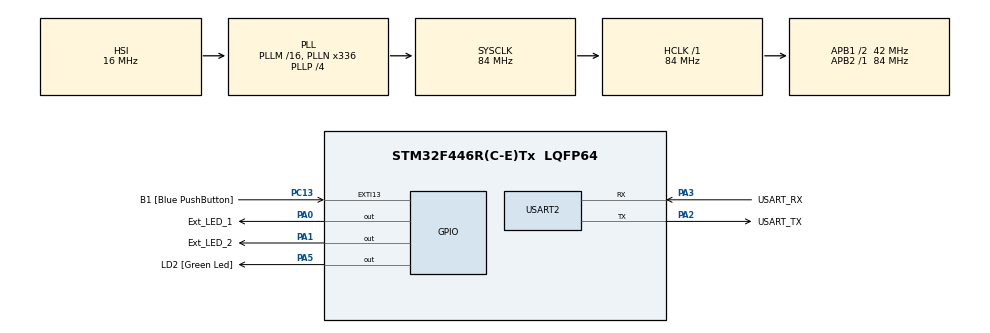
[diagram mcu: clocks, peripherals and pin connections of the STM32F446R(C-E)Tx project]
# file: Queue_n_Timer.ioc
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Mcu.Family=STM32F4
Mcu.Name=STM32F446R(C-E)Tx
Mcu.Package=LQFP64
NVIC.PriorityGroup=NVIC_PRIORITYGROUP_4
NVIC.TIM6_DAC_IRQn=true\:15\:0\:false\:false\:true\:false\:true\:true
NVIC.TimeBase=TIM6_DAC_IRQn
NVIC.TimeBaseIP=TIM6
NVIC.USART2_IRQn=true\:6\:0\:true\:false\:true\:true\:true\:true
PA0-WKUP.GPIO_Label=Ext_LED_1
PA0-WKUP.Signal=GPIO_Output
PA1.GPIO_Label=Ext_LED_2
PA1.Signal=GPIO_Output
PA13.GPIO_Label=TMS
PA13.Signal=SYS_JTMS-SWDIO
PA14.GPIO_Label=TCK
PA14.Signal=SYS_JTCK-SWCLK
PA2.GPIO_Label=USART_TX
PA2.Mode=Asynchronous
PA2.Signal=USART2_TX
PA3.GPIO_Label=USART_RX
PA3.Mode=Asynchronous
PA3.Signal=USART2_RX
PA5.GPIO_Label=LD2 [Green Led]
PA5.Signal=GPIO_Output
PB3.GPIO_Label=SWO
PB3.Signal=SYS_JTDO-SWO
PC13.GPIO_Label=B1 [Blue PushButton]
PC13.GPIO_ModeDefaultEXTI=GPIO_MODE_IT_FALLING
PC13.Signal=GPXTI13
PC14-OSC32_IN.Signal=RCC_OSC32_IN
PC15-OSC32_OUT.Signal=RCC_OSC32_OUT
PH0-OSC_IN.Signal=RCC_OSC_IN
PH1-OSC_OUT.Signal=RCC_OSC_OUT
ProjectManager.HeapSize=0x200
ProjectManager.StackSize=0x400
ProjectManager.TargetToolchain=STM32CubeIDE
RCC.AHBFreq_Value=84000000
RCC.APB1CLKDivider=RCC_HCLK_DIV2
RCC.APB1Freq_Value=42000000
RCC.APB1TimFreq_Value=84000000
RCC.APB2Freq_Value=84000000
RCC.APB2TimFreq_Value=84000000
RCC.CortexFreq_Value=84000000
RCC.FLatency-AdvancedSettings=FLASH_LATENCY_2
RCC.HCLKFreq_Value=84000000
RCC.HSE_VALUE=8000000
RCC.HSI_VALUE=16000000
RCC.LSE_VALUE=32768
RCC.PLLN=336
RCC.PLLP=RCC_PLLP_DIV4
RCC.SYSCLKFreq_VALUE=84000000
RCC.SYSCLKSource=RCC_SYSCLKSOURCE_PLLCLK
RCC.USBFreq_Value=168000000
RCC.VCOOutputFreq_Value=336000000
RTC.HourFormat=RTC_HOURFORMAT_12
USART2.VirtualMode=VM_ASYNC
VP_RTC_VS_RTC_Activate.Mode=RTC_Enabled
VP_SYS_VS_tim6.Mode=TIM6
board=NUCLEO-F446RE

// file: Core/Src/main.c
/* USER CODE BEGIN Header */
/**
  ******************************************************************************
  * @file           : main.c
  * @brief          : Main program body
  ******************************************************************************
  * @attention
  *
  * Copyright (c) 2025 STMicroelectronics.
  * All rights reserved.
  *
  * This software is licensed under terms that can be found in the LICENSE file
  * in the root directory of this software component.
  * If no LICENSE file comes with this software, it is provided AS-IS.
  *
  ******************************************************************************
  */
/* USER CODE END Header */
#include "main.h"

RTC_HandleTypeDef hrtc;

UART_HandleTypeDef huart2;

/* USER CODE BEGIN PV */

xTaskHandle menu_task_handle;
xTaskHandle cmd_task_handler;
xTaskHandle print_task_handle;
xTaskHandle led_task_handle;
xTaskHandle rtc_task_handle;

//Queue handlers

QueueHandle_t q_data;
QueueHandle_t q_print;

//Timer handles

TimerHandle_t timer_handler[4];
TimerHandle_t rtc_timer;

state_t curr_state = sMainMenu;

volatile uint8_t user_data;

/* USER CODE END PV */

void SystemClock_Config(void);
static void MX_GPIO_Init(void);
static void MX_RTC_Init(void);
static void MX_USART2_UART_Init(void);

int main(void)
{

  /* USER CODE BEGIN 1 */
	BaseType_t status;

  /* USER CODE END 1 */

  /* MCU Configuration--------------------------------------------------------*/

  /* Reset of all peripherals, Initializes the Flash interface and the Systick. */
  HAL_Init();

  /* Configure the system clock */
  SystemClock_Config();

  /* Initialize all configured peripherals */
  MX_GPIO_Init();
  MX_RTC_Init();
  MX_USART2_UART_Init();
  /* USER CODE BEGIN 2 */

  status = xTaskCreate(menu_task, "menu_task", 250, NULL, 2, &menu_task_handle);

  configASSERT(status == pdPASS);

  status = xTaskCreate(cmd_handler_task, "cmd_task", 250, NULL, 2, &cmd_task_handler);

  configASSERT(status == pdPASS);

  status = xTaskCreate(print_task, "print_task", 250, NULL, 2, &print_task_handle);

  configASSERT(status == pdPASS);

  status = xTaskCreate(led_task, "led_task", 250, NULL, 2, &led_task_handle);

  configASSERT(status == pdPASS);

  status = xTaskCreate(rtc_task, "rtc_task", 250, NULL, 2, &rtc_task_handle);

  configASSERT(status == pdPASS);

  //Create Queues

  q_data = xQueueCreate(10,sizeof(char));

  configASSERT(q_data != NULL);

  q_print = xQueueCreate(10,sizeof(size_t));

  configASSERT(q_print != NULL);

  //create Software timers which are provided by FreeRTOS API's
  for(int i=0;i<4;i++)
  timer_handler[i] = xTimerCreate("led_timer", pdMS_TO_TICKS(500), pdTRUE, (void*)(i+1), led_timer_callback_func);

  //Create Timer for RTC timer handler
  rtc_timer = xTimerCreate("rtc_timer", pdMS_TO_TICKS(500), pdTRUE, (void*)5, rtc_timer_callback_func);

  //call UART receive with Interrupt before starting the scheduler
  HAL_UART_Receive_IT(&huart2, (uint8_t*)&user_data, 1);

  //Start scheduler

  vTaskStartScheduler();

  /* USER CODE END 2 */

  /* Infinite loop */
  while (1)
  {

  }
}

void SystemClock_Config(void)
{
  RCC_OscInitTypeDef RCC_OscInitStruct = {0};
  RCC_ClkInitTypeDef RCC_ClkInitStruct = {0};

  /** Configure the main internal regulator output voltage
  */
  __HAL_RCC_PWR_CLK_ENABLE();
  __HAL_PWR_VOLTAGESCALING_CONFIG(PWR_REGULATOR_VOLTAGE_SCALE3);

  /** Initializes the RCC Oscillators according to the specified parameters
  * in the RCC_OscInitTypeDef structure.
  */
  RCC_OscInitStruct.OscillatorType = RCC_OSCILLATORTYPE_HSI|RCC_OSCILLATORTYPE_LSI;
  RCC_OscInitStruct.LSEState = RCC_LSE_OFF;
  RCC_OscInitStruct.HSIState = RCC_HSI_ON;
  RCC_OscInitStruct.HSICalibrationValue = RCC_HSICALIBRATION_DEFAULT;
  RCC_OscInitStruct.LSIState = RCC_LSI_ON;
  RCC_OscInitStruct.PLL.PLLState = RCC_PLL_ON;
  RCC_OscInitStruct.PLL.PLLSource = RCC_PLLSOURCE_HSI;
  RCC_OscInitStruct.PLL.PLLM = 16;
  RCC_OscInitStruct.PLL.PLLN = 336;
  RCC_OscInitStruct.PLL.PLLP = RCC_PLLP_DIV4;
  RCC_OscInitStruct.PLL.PLLQ = 2;
  RCC_OscInitStruct.PLL.PLLR = 2;
  if (HAL_RCC_OscConfig(&RCC_OscInitStruct) != HAL_OK)
  {
    Error_Handler();
  }

  /** Initializes the CPU, AHB and APB buses clocks
  */
  RCC_ClkInitStruct.ClockType = RCC_CLOCKTYPE_HCLK|RCC_CLOCKTYPE_SYSCLK
                              |RCC_CLOCKTYPE_PCLK1|RCC_CLOCKTYPE_PCLK2;
  RCC_ClkInitStruct.SYSCLKSource = RCC_SYSCLKSOURCE_PLLCLK;
  RCC_ClkInitStruct.AHBCLKDivider = RCC_SYSCLK_DIV1;
  RCC_ClkInitStruct.APB1CLKDivider = RCC_HCLK_DIV2;
  RCC_ClkInitStruct.APB2CLKDivider = RCC_HCLK_DIV1;

  if (HAL_RCC_ClockConfig(&RCC_ClkInitStruct, FLASH_LATENCY_2) != HAL_OK)
  {
    Error_Handler();
  }
}

static void MX_RTC_Init(void)
{

  /** Initialize RTC Only
  */
  hrtc.Instance = RTC;
  hrtc.Init.HourFormat = RTC_HOURFORMAT_12;
  hrtc.Init.AsynchPrediv = 127;
  hrtc.Init.SynchPrediv = 255;
  hrtc.Init.OutPut = RTC_OUTPUT_DISABLE;
  hrtc.Init.OutPutPolarity = RTC_OUTPUT_POLARITY_HIGH;
  hrtc.Init.OutPutType = RTC_OUTPUT_TYPE_OPENDRAIN;
  if (HAL_RTC_Init(&hrtc) != HAL_OK)
  {
    Error_Handler();
  }

}

static void MX_USART2_UART_Init(void)
{

  huart2.Instance = USART2;
  huart2.Init.BaudRate = 115200;
  huart2.Init.WordLength = UART_WORDLENGTH_8B;
  huart2.Init.StopBits = UART_STOPBITS_1;
  huart2.Init.Parity = UART_PARITY_NONE;
  huart2.Init.Mode = UART_MODE_TX_RX;
  huart2.Init.HwFlowCtl = UART_HWCONTROL_NONE;
  huart2.Init.OverSampling = UART_OVERSAMPLING_16;
  if (HAL_UART_Init(&huart2) != HAL_OK)
  {
    Error_Handler();
  }

}

static void MX_GPIO_Init(void)
{
  GPIO_InitTypeDef GPIO_InitStruct = {0};

  /* GPIO Ports Clock Enable */
  __HAL_RCC_GPIOC_CLK_ENABLE();
  __HAL_RCC_GPIOH_CLK_ENABLE();
  __HAL_RCC_GPIOA_CLK_ENABLE();
  __HAL_RCC_GPIOB_CLK_ENABLE();

  /*Configure GPIO pin Output Level */
  HAL_GPIO_WritePin(GPIOA, Ext_LED_1_Pin|Ext_LED_2_Pin|LD2_Pin, GPIO_PIN_RESET);

  /*Configure GPIO pin : B1_Pin */
  GPIO_InitStruct.Pin = B1_Pin;
  GPIO_InitStruct.Mode = GPIO_MODE_IT_FALLING;
  GPIO_InitStruct.Pull = GPIO_NOPULL;
  HAL_GPIO_Init(B1_GPIO_Port, &GPIO_InitStruct);

  /*Configure GPIO pins : Ext_LED_1_Pin Ext_LED_2_Pin LD2_Pin */
  GPIO_InitStruct.Pin = Ext_LED_1_Pin|Ext_LED_2_Pin|LD2_Pin;
  GPIO_InitStruct.Mode = GPIO_MODE_OUTPUT_PP;
  GPIO_InitStruct.Pull = GPIO_NOPULL;
  GPIO_InitStruct.Speed = GPIO_SPEED_FREQ_LOW;
  HAL_GPIO_Init(GPIOA, &GPIO_InitStruct);

}

/* USER CODE BEGIN 4 */

void rtc_timer_callback_func(TimerHandle_t xTimer)
{

}

void led_timer_callback_func(TimerHandle_t xTimer)
{
	int id;
	id = (int)pvTimerGetTimerID(xTimer);

	switch(id)
	{
		case 1:
			LED_effect1();
			break;
		case 2:
			LED_effect2();
			break;
		case 3:
			LED_effect3();
			break;
		case 4:
			LED_effect4();
			break;

	}
}

void HAL_UART_RxCpltCallback(UART_HandleTypeDef *huart)
{
	uint8_t deleted_data;
	BaseType_t status;
	status = xQueueIsQueueFullFromISR(q_data);

	if(!status)
	{
		/*Queue is not full */

		/*Enqueue data byte */
		xQueueSendFromISR(q_data,(void*)&user_data,NULL);

	}else{
		/*Queue is full */

		if(user_data == '\n')
		{
			/*make sure that last data byte of the queue is '\n' */
			xQueueReceiveFromISR(q_data, (void *)&deleted_data, NULL);
			xQueueSendFromISR(q_data,(void*)&user_data,NULL);
		}
	}

	/*send notification to command handling task if user_data = '\n' */
	if(user_data == '\n')
	{
		xTaskNotifyFromISR(cmd_task_handler,0,eNoAction,NULL);
	}

	/*Enable UART data byte reception again in IT mode */
	HAL_UART_Receive_IT(&huart2, (uint8_t*)&user_data, 1);

}

/* USER CODE END 4 */

void HAL_TIM_PeriodElapsedCallback(TIM_HandleTypeDef *htim)
{
  if (htim->Instance == TIM6) {
    HAL_IncTick();
  }
}

void Error_Handler(void)
{
  __disable_irq();
  while (1)
  {
  }
}
